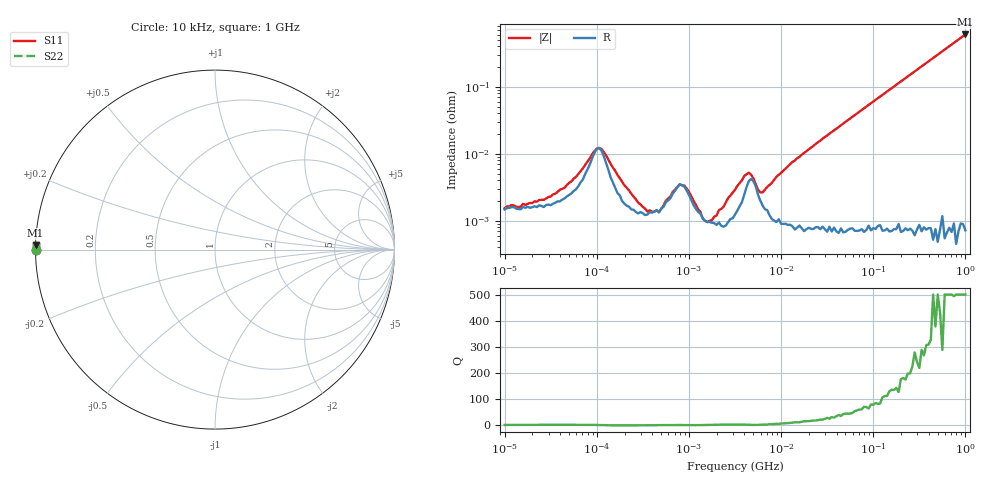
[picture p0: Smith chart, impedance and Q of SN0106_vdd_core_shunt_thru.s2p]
! VALBRD-A rev C SN0106  rail VDD_CORE_0V9  2-port shunt-thru, VRM on, DC blocks on both ports
! SYNTHETIC data for HWLAB-M03 (gen_vna.py seed=106) - golden: BOM rev C fully populated
! IFBW 100 Hz, log sweep 10 kHz - 1 GHz, 201 points
# Hz S DB R 50
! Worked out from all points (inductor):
!   201 points, 10 kHz to 1 GHz, reference 50 ohm
!   read as one part in shunt: L = 7.11 nH near 10.59 kHz
!   highest |Z| = 602 mohm at 1 GHz (marker M1)
!   self-resonance near 103.7 kHz
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10000  -0.00 180.0  -84.21 16.3  -84.21 16.3  -0.00 180.0
35481.34  -0.00 180.0  -79.87 42.8  -79.87 42.8  -0.00 180.0
70794.58  -0.00 180.0  -72.29 46.8  -72.29 46.8  -0.00 180.0
94406.09  -0.00 180.0  -67.15 20.0  -67.15 20.0  -0.00 180.0
105925.4  -0.00 -180.0  -66.22 -4.7  -66.22 -4.7  -0.00 -180.0
118850.2  -0.00 -180.0  -67.40 -29.2  -67.40 -29.2  -0.00 -180.0
237137.4  -0.00 -180.0  -79.91 -54.3  -79.91 -54.3  -0.00 -180.0
473151.3  -0.00 180.0  -85.39 7.7  -85.39 7.7  -0.00 180.0
630957.3  -0.00 180.0  -80.71 18.7  -80.71 18.7  -0.00 180.0
794328.2  -0.00 180.0  -77.08 3.6  -77.08 3.6  -0.00 180.0
891250.9  -0.00 -180.0  -77.44 -14.9  -77.44 -14.9  -0.00 -180.0
1059254  -0.00 -180.0  -80.57 -28.0  -80.57 -28.0  -0.00 -180.0
2818383  -0.00 180.0  -80.44 63.3  -80.44 63.3  -0.00 180.0
3162278  -0.00 180.0  -78.69 64.8  -78.69 64.8  -0.00 180.0
4466836  -0.00 180.0  -73.62 41.3  -73.62 41.3  -0.00 180.0
5011872  -0.00 180.0  -75.36 23.7  -75.36 23.7  -0.00 180.0
5623413  -0.00 180.0  -78.73 32.1  -78.73 32.1  -0.00 180.0
6309573  -0.00 180.0  -79.49 50.5  -79.49 50.5  -0.00 180.0
1.258925e7  -0.00 180.0  -70.99 82.9  -70.99 82.9  -0.00 180.0
2.238721e7  -0.00 180.0  -65.62 86.7  -65.62 86.7  -0.00 180.0
1.496236e8  -0.00 179.8  -48.89 89.4  -48.89 89.4  -0.00 179.8
1e9  -0.00 178.6  -32.37 88.6  -32.37 88.6  -0.00 178.6
